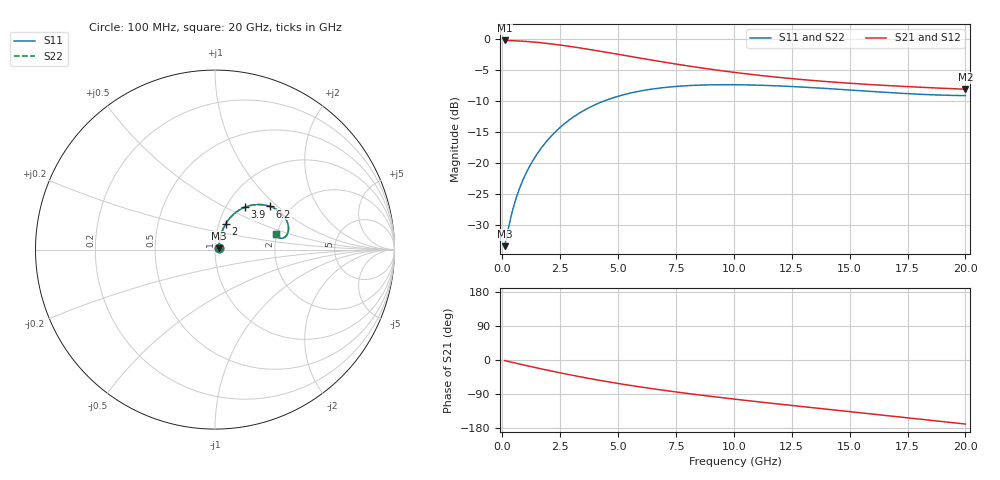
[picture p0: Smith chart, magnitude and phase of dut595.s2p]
! Touchstone file exported from HFSS 2024.1.0
!  File:  C:/UserFiles/LocalFiles/RDL_TSV_Batchsim/temp_RDL_TSV_595_1779760600.aedt
!  Generated:  10:14:51 AM May 26, 2026
!  Design:  RDL_TSV
!  Project:  temp_RDL_TSV_595_1779760600
!  Setup:  Setup1
!  Solution:  Sweep
! Variables:
!  dtsv = 5.14um
!  hbump = 3um
!  htsv = 56.88um
!  ldown = 184.72um
!  lrdl = 494.71um
!  p = 40
!  p1 = 58.92um
!  rhole = 10um
!  subl = 2533um
!  t = 450um
!  tdown = 3.13um
!  trdl = 2.47um
!  viad = 10um
!  wdown = 14.5um
!  wrdl = 20.5um
!  xbump = 18um
# GHz S MA R 50.000000
! Terminal data exported
! Port[1] = TM1_1_T1
! Port[2] = TM1_4_T1
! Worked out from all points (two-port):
!   200 points, 100 MHz to 20 GHz, reference 50 ohm
!   highest |S21| = -0.17 dB at 100 MHz (marker M1); lowest = -8.1 dB at 20 GHz (marker M2)
!   |S21| within 3 dB of the highest: start of sweep to 6.18 GHz
!   lowest |S11| = -33.4 dB at 100 MHz (marker M3), VSWR 1.04, Z = 52 + j0.841 ohm
!   |S11| at or under -10 dB: start of sweep to 4.366 GHz
!   |S22| runs from -33.4 to -7.3 dB; largest |S21 - S12| = 1.6e-14
!   S11 on the Smith chart (normalised r, x): 100 MHz: 1.04, +0.02; 2 GHz: 1.08, +0.32; 3.9 GHz: 1.22, +0.63; 6.2 GHz: 1.58, +0.89; 20 GHz: 1.98, +0.38
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0.1  0.02132 22.3  0.9802 -1.5  0.9802 -1.5  0.02132 22.3
! Gamma 0 0 0 0
! Port Impedance 50 0 50 0
0.3  0.0319 48.1  0.9782 -4.4  0.9782 -4.4  0.0319 48.1
0.5  0.0453 58.5  0.9749 -7.2  0.9749 -7.2  0.0453 58.5
0.6  0.05225 61.5  0.9729 -8.6  0.9729 -8.6  0.05225 61.5
0.8  0.06644 65.1  0.9684 -11.4  0.9684 -11.4  0.06644 65.2
1  0.08095 67.2  0.963 -14.2  0.963 -14.2  0.08095 67.2
1.3  0.1032 68.5  0.9534 -18.3  0.9534 -18.3  0.1032 68.5
1.6  0.126 68.5  0.9421 -22.3  0.9421 -22.3  0.126 68.5
2  0.1566 67.4  0.9247 -27.6  0.9247 -27.6  0.1566 67.4
2.7  0.2094 63.5  0.8894 -36.4  0.8894 -36.4  0.2094 63.5
3.5  0.265 57.7  0.8445 -45.9  0.8445 -45.9  0.2651 57.8
3.9  0.29 54.7  0.8212 -50.4  0.8212 -50.4  0.2901 54.7
5  0.3469 46.3  0.7576 -61.9  0.7576 -61.9  0.3471 46.4
6.2  0.3896 38.1  0.6929 -73.3  0.6929 -73.3  0.3898 38.1
6.8  0.4043 34.4  0.6634 -78.5  0.6634 -78.5  0.4045 34.4
8.4  0.4262 26.0  0.5953 -91.4  0.5953 -91.4  0.4265 26.1
10.1  0.4302 19.3  0.5388 -103.8  0.5388 -103.8  0.4305 19.3
11.7  0.4225 14.6  0.4982 -114.7  0.4982 -114.7  0.4228 14.7
13.4  0.4073 11.4  0.4655 -125.8  0.4655 -125.8  0.4076 11.4
16.7  0.3717 9.8  0.4229 -147.2  0.4229 -147.2  0.372 9.9
18.4  0.3575 11.4  0.4075 -158.4  0.4075 -158.4  0.3578 11.5
20  0.3513 14.0  0.3953 -169.1  0.3953 -169.1  0.3516 14.1
